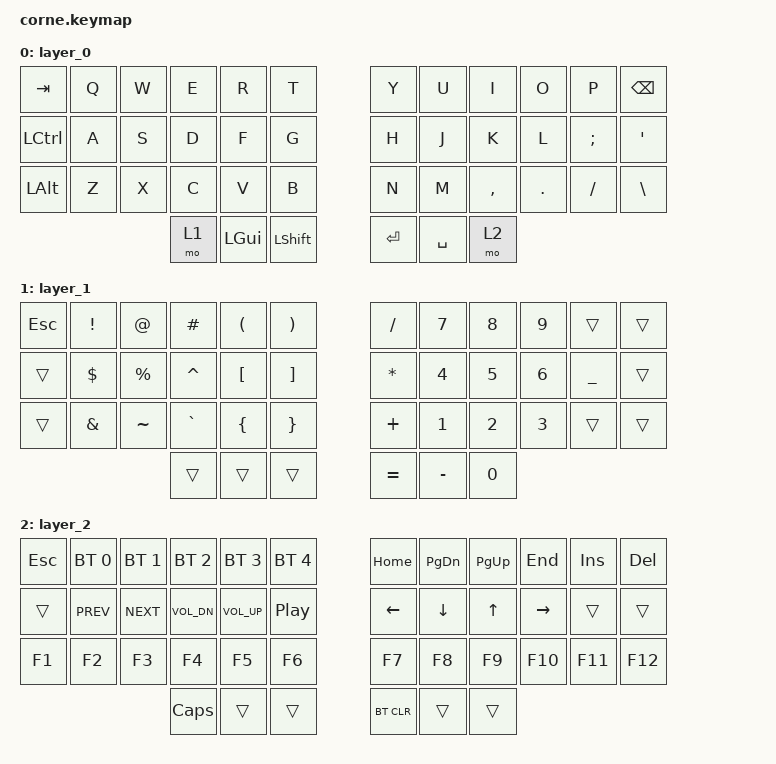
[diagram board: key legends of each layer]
/*
 * Copyright (c) 2020 The ZMK Contributors
 *
 * SPDX-License-Identifier: MIT
 */

#include <behaviors.dtsi>
#include <dt-bindings/zmk/keys.h>
#include <dt-bindings/zmk/bt.h>

/ {
  behaviors {
    tp: tap_preferred {
      compatible = "zmk,behavior-hold-tap";
      label = "TAP_PREFERRED";
      #binding-cells = <2>;
      tapping-term-ms = <150>;
      quick-tap-ms = <0>;
      flavor = "tap-preferred";
      bindings = <&kp>, <&kp>;
    }; 
  };
  keymap {
    compatible = "zmk,keymap";
    layer_0 { 
      // Default layer
      // ----------------------------------------------------------------------------------------------------------------
      // | TAB   | Q     | W     | E     | R     | T     |              | Y     | U     | I     | O     | P     | BKSP  |
      // | CTRL  | A     | S     | D     | F     | G     |              | H     | J     | K     | L     | ; :   | ' "   |
      // | ALT   | Z     | X     | C     | V     | B     |              | N     | M     | , <   | . >   | / ?   | \ "|" |
      //                         | LWR   | GUI   | SHFT  |              | ENT   | SPACE | RSE   |  
      bindings = <
      &kp TAB   &kp Q     &kp W     &kp E     &kp R     &kp T     &kp Y     &kp U     &kp I     &kp O     &kp P     &kp BKSP
      &kp LCTRL &kp A     &kp S     &kp D     &kp F     &kp G     &kp H     &kp J     &kp K     &kp L     &kp SEMI  &kp SQT 
      &kp LALT  &kp Z     &kp X     &kp C     &kp V     &kp B     &kp N     &kp M     &kp COMMA &kp DOT   &kp FSLH  &kp BSLH
                                    &mo 1     &kp LGUI  &kp LSHFT &kp RET   &kp SPACE &mo 2
      >;
    };
    layer_1 { 
      // Lower layer
      // ----------------------------------------------------------------------------------------------------------------
      // | ESC   | !     | @     | #     | (     | )     |              | /     | 7     | 8     | 9     |       |       |
      // |       | $     | %     | ^     | [     | ]     |              | *     | 4     | 5     | 6     | _     |       |
      // |       | &     | ~     | `     | {     | }     |              | +     | 1     | 2     | 3     |       |       |
      //                         |       |       |       |              | =     | -     | 0     |
      bindings = <
      &kp ESC &kp EXCL  &kp AT    &kp HASH  &kp LPAR  &kp RPAR  &kp FSLH  &kp N7    &kp N8    &kp N9    &trans    &trans
      &trans  &kp DLLR  &kp PRCNT &kp CARET &kp LBKT  &kp RBKT  &kp STAR  &kp N4    &kp N5    &kp N6    &kp UNDER &trans
      &trans  &kp AMPS  &kp TILDE &kp GRAVE &kp LBRC  &kp RBRC  &kp PLUS  &kp N1    &kp N2    &kp N3    &trans    &trans
                                  &trans    &trans    &trans    &kp EQUAL &kp MINUS &kp N0
      >;
    };
    layer_2 { 
      // Upper layer
      // ----------------------------------------------------------------------------------------------------------------
      // | ESC   | BT1   | BT2   | BT3   | BT4   | BT5   |              | HOME  | PG_DN | PG_UP | END   | INS   | DEL   |
      // |       | Prev  | Next  | Vol-  | Vol+  | Play  |              | LFT   | DWN   | UP    | RGT   |       |       |
      // | F1    | F2    | F3    | F4    | F5    | F6    |              | F7    | F8    | F9    | F10   | F11   | F12   |
      //                         | CAPS  |       |       |              | BTCLR |       |       |
      bindings = <
      &kp ESC   &bt BT_SEL 0 &bt BT_SEL 1 &bt BT_SEL 2 &bt BT_SEL 3 &bt BT_SEL 4 &kp HOME   &kp PG_DN   &kp PG_UP &kp END   &kp INS   &kp DEL 
      &trans    &kp C_PREV   &kp C_NEXT   &kp C_VOL_DN &kp C_VOL_UP &kp C_PP     &kp LEFT   &kp DOWN    &kp UP    &kp RIGHT &trans    &trans 
      &kp F1    &kp F2       &kp F3       &kp F4       &kp F5       &kp F6       &kp F7     &kp F8      &kp F9    &kp F10   &kp F11   &kp F12
                                          &kp CAPS     &trans       &trans       &bt BT_CLR &trans      &trans                   
      >;
    };
  };
};
